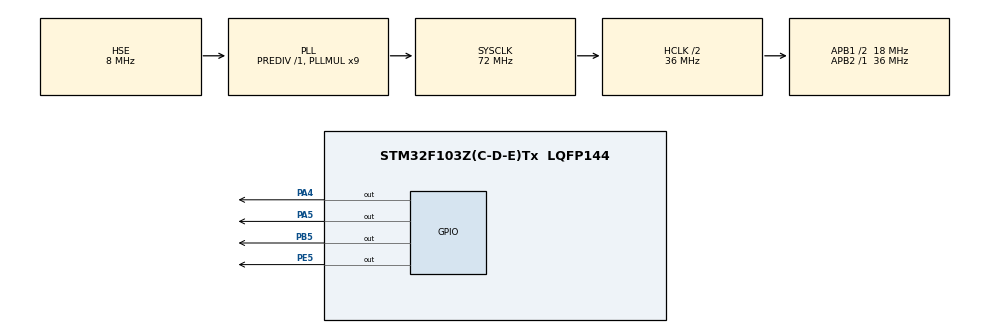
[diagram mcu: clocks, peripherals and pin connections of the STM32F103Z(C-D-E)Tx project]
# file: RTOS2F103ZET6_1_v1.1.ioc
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Mcu.Family=STM32F1
Mcu.Name=STM32F103Z(C-D-E)Tx
Mcu.Package=LQFP144
NVIC.PriorityGroup=NVIC_PRIORITYGROUP_4
NVIC.TIM3_IRQn=true\:15\:0\:true\:false\:true\:false\:true
NVIC.TimeBase=TIM3_IRQn
NVIC.TimeBaseIP=TIM3
OSC_IN.Mode=HSE-External-Oscillator
OSC_IN.Signal=RCC_OSC_IN
OSC_OUT.Mode=HSE-External-Oscillator
OSC_OUT.Signal=RCC_OSC_OUT
PA13.Mode=Serial_Wire
PA13.Signal=SYS_JTMS-SWDIO
PA14.Mode=Serial_Wire
PA14.Signal=SYS_JTCK-SWCLK
PA4.GPIO_PuPd=GPIO_PULLDOWN
PA4.Signal=GPIO_Output
PA5.GPIO_PuPd=GPIO_PULLDOWN
PA5.Signal=GPIO_Output
PB5.GPIO_PuPd=GPIO_PULLDOWN
PB5.Signal=GPIO_Output
PC14-OSC32_IN.Mode=LSE-External-Oscillator
PC14-OSC32_IN.Signal=RCC_OSC32_IN
PC15-OSC32_OUT.Mode=LSE-External-Oscillator
PC15-OSC32_OUT.Signal=RCC_OSC32_OUT
PE5.GPIO_PuPd=GPIO_PULLDOWN
PE5.Signal=GPIO_Output
ProjectManager.HeapSize=0x200
ProjectManager.StackSize=0x400
ProjectManager.TargetToolchain=MDK-ARM V5
RCC.AHBCLKDivider=RCC_SYSCLK_DIV2
RCC.AHBFreq_Value=36000000
RCC.APB1CLKDivider=RCC_HCLK_DIV2
RCC.APB1Freq_Value=18000000
RCC.APB1TimFreq_Value=36000000
RCC.APB2Freq_Value=36000000
RCC.APB2TimFreq_Value=36000000
RCC.HCLKFreq_Value=36000000
RCC.PLLMUL=RCC_PLL_MUL9
RCC.PLLSourceVirtual=RCC_PLLSOURCE_HSE
RCC.SYSCLKFreq_VALUE=72000000
RCC.SYSCLKSource=RCC_SYSCLKSOURCE_PLLCLK
RCC.USBFreq_Value=72000000
VP_SYS_VS_tim3.Mode=TIM3
board=custom

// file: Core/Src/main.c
/* USER CODE BEGIN Header */
/**
  ******************************************************************************
  * @file           : main.c
  * @brief          : Main program body
  ******************************************************************************
  * @attention
  *
  * <h2><center>&copy; Copyright (c) 2025 STMicroelectronics.
  * All rights reserved.</center></h2>
  *
  * This software component is licensed by ST under BSD 3-Clause license,
  * the "License"; You may not use this file except in compliance with the
  * License. You may obtain a copy of the License at:
  *                        opensource.org/licenses/BSD-3-Clause
  *
  ******************************************************************************
  */
/* USER CODE END Header */
#include "main.h"
#include "gpio.h"

/* USER CODE BEGIN Includes */
#include "FreeRTOS.h"
/* USER CODE END Includes */

void SystemClock_Config(void);

/* USER CODE BEGIN 0 */
//extern List_t pxReadyTasksLists[configMAX_PRIORITIES];

TaskHandle_t Task1_Handle;
#define TASK1_STACK_SIZE                    128
StackType_t Task1Stack[TASK1_STACK_SIZE];
TCB_t Task1TCB;
UBaseType_t Task1Priority = 3;

TaskHandle_t Task2_Handle;
#define TASK2_STACK_SIZE                    128
StackType_t Task2Stack[TASK2_STACK_SIZE];
TCB_t Task2TCB;
UBaseType_t Task2Priority = 2;

TaskHandle_t Task3_Handle;
#define TASK3_STACK_SIZE                    128
StackType_t Task3Stack[TASK3_STACK_SIZE];
TCB_t Task3TCB;
UBaseType_t Task3Priority = 1;

void my_delay(uint32_t cnt){
	uint32_t cnt1 , cnt2;
	cnt1 = cnt , cnt2 = cnt;
	for(;cnt1 != 0; cnt1--){
		for(;cnt2 != 0; cnt2--){
		}
	}
}
// 任务 1 入口函数
void Task1_Entry(void *parg)
{
	for(;;)
	{
		HAL_GPIO_TogglePin(LED0_GPIO_PORT, LED0_PIN);
		vTaskDelay(500);
		//my_delay(500000);
	}
}
// 任务 2 入口函数
void Task2_Entry(void *parg)
{
	for(;;)
	{
		HAL_GPIO_TogglePin(LED1_GPIO_PORT, LED1_PIN);
		vTaskDelay(600);
		//my_delay(500000);
	}
}

void Task3_Entry(void *parg)
{
	for(;;)
	{
		HAL_GPIO_TogglePin(SYSTICK_GPIO_PORT, SYSTICK_PIN);
		vTaskDelay(700);
		//my_delay(500000);
	}
}
/* USER CODE END 0 */

int main(void)
{

  /* MCU Configuration--------------------------------------------------------*/

  /* Reset of all peripherals, Initializes the Flash interface and the Systick. */
  HAL_Init();

  /* Configure the system clock */
  SystemClock_Config();

  /* Initialize all configured peripherals */
  MX_GPIO_Init();
  /* USER CODE BEGIN 2 */

	// 创建任务 1 和 2

	Task1_Handle = xTaskCreateStatic((TaskFunction_t)Task1_Entry,
								 (char *)"Task1",
								 (uint32_t)TASK1_STACK_SIZE,
								 (void *)NULL,
									Task1Priority,
								 (StackType_t *)Task1Stack,
								 (TCB_t *)&Task1TCB);

	Task2_Handle = xTaskCreateStatic((TaskFunction_t)Task2_Entry,
								 (char *)"Task2",
								 (uint32_t)TASK2_STACK_SIZE,
								 (void *) NULL,
									Task2Priority,
								 (StackType_t *)Task2Stack,
								 (TCB_t *)&Task2TCB );

	Task3_Handle = xTaskCreateStatic((TaskFunction_t)Task3_Entry,
								 (char *)"Task3",
								 (uint32_t)TASK3_STACK_SIZE,
								 (void *) NULL,
									Task3Priority,
								 (StackType_t *)Task3Stack,
								 (TCB_t *)&Task3TCB );

  // 启动任务调度器，永不返回
	vTaskStartScheduler();
  /* USER CODE END 2 */

  /* Infinite loop */
  while (1)
  {

  }
}

void SystemClock_Config(void)
{
  RCC_OscInitTypeDef RCC_OscInitStruct = {0};
  RCC_ClkInitTypeDef RCC_ClkInitStruct = {0};

  /** Initializes the RCC Oscillators according to the specified parameters
  * in the RCC_OscInitTypeDef structure.
  */
  RCC_OscInitStruct.OscillatorType = RCC_OSCILLATORTYPE_HSE;
  RCC_OscInitStruct.HSEState = RCC_HSE_ON;
  RCC_OscInitStruct.HSEPredivValue = RCC_HSE_PREDIV_DIV1;
  RCC_OscInitStruct.HSIState = RCC_HSI_ON;
  RCC_OscInitStruct.PLL.PLLState = RCC_PLL_ON;
  RCC_OscInitStruct.PLL.PLLSource = RCC_PLLSOURCE_HSE;
  RCC_OscInitStruct.PLL.PLLMUL = RCC_PLL_MUL9;
  if (HAL_RCC_OscConfig(&RCC_OscInitStruct) != HAL_OK)
  {
    Error_Handler();
  }
  /** Initializes the CPU, AHB and APB buses clocks
  */
  RCC_ClkInitStruct.ClockType = RCC_CLOCKTYPE_HCLK|RCC_CLOCKTYPE_SYSCLK
                              |RCC_CLOCKTYPE_PCLK1|RCC_CLOCKTYPE_PCLK2;
  RCC_ClkInitStruct.SYSCLKSource = RCC_SYSCLKSOURCE_PLLCLK;
  RCC_ClkInitStruct.AHBCLKDivider = RCC_SYSCLK_DIV2;
  RCC_ClkInitStruct.APB1CLKDivider = RCC_HCLK_DIV2;
  RCC_ClkInitStruct.APB2CLKDivider = RCC_HCLK_DIV1;

  if (HAL_RCC_ClockConfig(&RCC_ClkInitStruct, FLASH_LATENCY_2) != HAL_OK)
  {
    Error_Handler();
  }
}

static uint16_t tim3flag = 0;
void HAL_TIM_PeriodElapsedCallback(TIM_HandleTypeDef *htim)
{
  if (htim->Instance == TIM3) {
		tim3flag++;
		if(tim3flag == 1000){
			HAL_GPIO_TogglePin(TIM3_GPIO_PORT, TIM3_PIN_PORT);
			tim3flag = 0;
		}
    HAL_IncTick();
  }
}

void Error_Handler(void)
{
}

/************************ (C) COPYRIGHT STMicroelectronics *****END OF FILE****/
